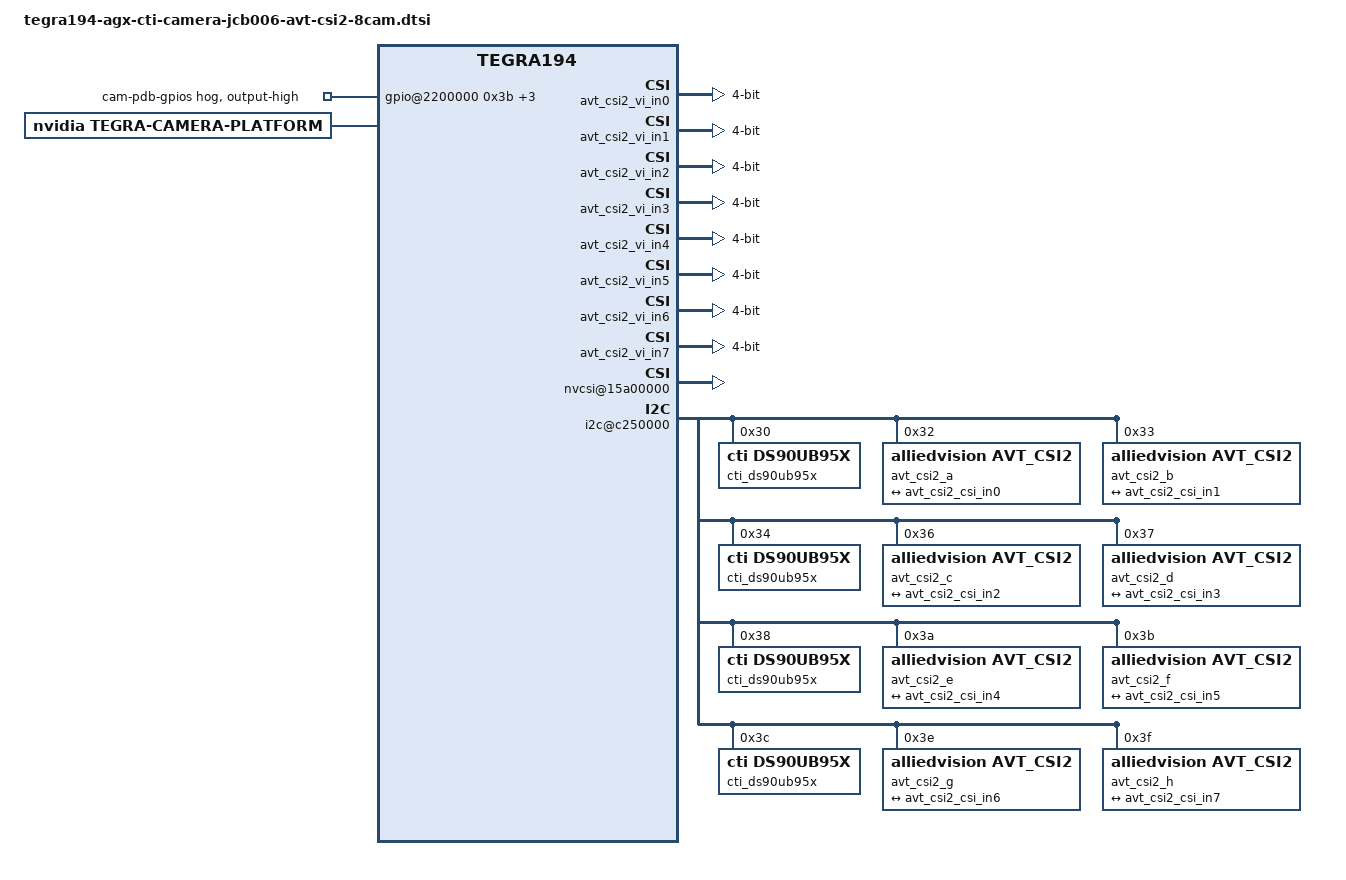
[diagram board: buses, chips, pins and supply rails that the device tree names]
/**
 * 8-cam device tree for AlliedVision sensors via FPDLink
 * Supports following series:
 *  - 1800C -507c
 *  - 1500C -500c
 */

/ {
    /**
	 * i2c-mux @72
	 * CAM A --> 2 lanes	(VI port-index = 0)
	 * CAM B --> 2 lanes	(VI port-index = 1)
	 * CAM C --> 2 lanes	(VI port-index = 2)
	 * CAM D --> 2 lanes	(VI port-index = 3)
	 *
	 * i2c-mux @75
	 * CAM E --> 4 lanes	(VI port-index = 4)
	 * CAM F --> 4 lanes	(VI port-index = 5)	 
	 */
	 
	 
	 
	tegra-capture-vi{
			num-channels = <8>;
            status="okay";
			ports {
				#address-cells = <1>;
				#size-cells = <0>;
				port@0 {
					reg = <0>;
                    status="okay";
				    avt_csi2_vi_in0: endpoint {
                        status="okay";
						port-index = <0>;
						bus-width = <4>;
						vc-id = <0>;
						remote-endpoint = <&avt_csi2_csi_out0>;
					};
				};
				
				port@1 {
					reg = <1>;
                    status="okay";
				    avt_csi2_vi_in1: endpoint {
                        status="okay";
						port-index = <0>;
						bus-width = <4>;
						vc-id = <1>;
						remote-endpoint = <&avt_csi2_csi_out1>;
					};
				};
				
				port@2 {
					reg = <2>;
                    status="okay";
				    avt_csi2_vi_in2: endpoint {
                        status="okay";
						port-index = <2>;
						bus-width = <4>;
						vc-id = <0>;
						remote-endpoint = <&avt_csi2_csi_out2>;
					};
				};
				
				port@3 {
					reg = <3>;
                    status="okay";
				    avt_csi2_vi_in3: endpoint {
                        status="okay";
						port-index = <2>;
						bus-width = <4>;
						vc-id = <1>;
						remote-endpoint = <&avt_csi2_csi_out3>;
					};
				};
				
				port@4 {
					reg = <4>;
                    status="okay";
				    avt_csi2_vi_in4: endpoint {
                        status="okay";
						port-index = <4>;
						bus-width = <4>;
						vc-id = <0>;
						remote-endpoint = <&avt_csi2_csi_out4>;
					};
				};
				
				port@5 {
					reg = <5>;
                    status="okay";
				    avt_csi2_vi_in5: endpoint {
                        status="okay";
						port-index = <4>;
						bus-width = <4>;
						vc-id = <1>;
						remote-endpoint = <&avt_csi2_csi_out5>;
					};
				};
				port@6 {
					reg = <6>;
					status = "okay";
					avt_csi2_vi_in6: endpoint {
						status = "okay";
						port-index = <5>;
						bus-width = <4>;
						vc-id = <0>;
						remote-endpoint = <&avt_csi2_csi_out6>;
					};
				};
				port@7 {
					reg = <7>;
					status = "okay";
					avt_csi2_vi_in7: endpoint {
						status = "okay";
						port-index = <5>;
						bus-width = <4>;
						vc-id = <1>;
						remote-endpoint = <&avt_csi2_csi_out7>;
					};
				};
			};
		};
		
	host1x@13e00000{
		nvcsi@15a00000 {
			num-channels = <8>;
			#address-cells = <1>;
			#size-cells = <0>;
            status="okay";
			
			channel@0 {
                status="okay";
				reg = <0>;
				ports {
                    status="okay";
				    #address-cells = <1>;
					#size-cells = <0>;
					port@0 {
						reg = <0>;
                        status="okay";
						avt_csi2_csi_in0: endpoint@0 {
                            status="okay";
							port-index = <0>;
							bus-width = <4>;
							remote-endpoint = <&avt_csi2_cam_out0>;
						};
					};
					port@1 {
                        status="okay";
						reg = <1>;
						avt_csi2_csi_out0: endpoint@1 {
                            status="okay";
							remote-endpoint = <&avt_csi2_vi_in0>;
						};
					};
				};
			};
			
			channel@1 {
                status="okay";
				reg = <1>;
				ports {
                    status="okay";
				    #address-cells = <1>;
					#size-cells = <0>;
					port@0 {
						reg = <0>;
                        status="okay";
						avt_csi2_csi_in1: endpoint@2 {
                            status="okay";
							port-index = <0>;
							bus-width = <4>;
							remote-endpoint = <&avt_csi2_cam_out1>;
						};
					};
					port@1 {
                        status="okay";
						reg = <1>;
						avt_csi2_csi_out1: endpoint@3 {
                            status="okay";
							remote-endpoint = <&avt_csi2_vi_in1>;
						};
					};
				};
			};
			
			channel@2 {
                status="okay";
				reg = <2>;
				ports {
                    status="okay";
				    #address-cells = <1>;
					#size-cells = <0>;
					port@0 {
						reg = <0>;
                        status="okay";
						avt_csi2_csi_in2: endpoint@4 {
                            status="okay";
							port-index = <2>;
							bus-width = <4>;
							remote-endpoint = <&avt_csi2_cam_out2>;
						};
					};
					port@1 {
                        status="okay";
						reg = <1>;
						avt_csi2_csi_out2: endpoint@5 {
                            status="okay";
							remote-endpoint = <&avt_csi2_vi_in2>;
						};
					};
				};
			};
			
			channel@3 {
                status="okay";
				reg = <3>;
				ports {
                    status="okay";
				    #address-cells = <1>;
					#size-cells = <0>;
					port@0 {
						reg = <0>;
                        status="okay";
						avt_csi2_csi_in3: endpoint@6 {
                            status="okay";
							port-index = <2>;
							bus-width = <4>;
							remote-endpoint = <&avt_csi2_cam_out3>;
						};
					};
					port@1 {
                        status="okay";
						reg = <1>;
						avt_csi2_csi_out3: endpoint@7 {
                            status="okay";
							remote-endpoint = <&avt_csi2_vi_in3>;
						};
					};
				};
			};
			
			channel@4 {
                status="okay";
				reg = <4>;
				ports {
                    status="okay";
				    #address-cells = <1>;
					#size-cells = <0>;
					port@0 {
						reg = <0>;
                        status="okay";
						avt_csi2_csi_in4: endpoint@8 {
                            status="okay";
							port-index = <4>;
							bus-width = <4>;
							remote-endpoint = <&avt_csi2_cam_out4>;
						};
					};
					port@1 {
                        status="okay";
						reg = <1>;
						avt_csi2_csi_out4: endpoint@9 {
                            status="okay";
							remote-endpoint = <&avt_csi2_vi_in4>;
						};
					};
				};
			};
			
			channel@5 {
                status="okay";
				reg = <5>;
				ports {
                    status="okay";
				    #address-cells = <1>;
					#size-cells = <0>;
					port@0 {
						reg = <0>;
                        status="okay";
						avt_csi2_csi_in5: endpoint@10 {
                            status="okay";
							port-index = <4>;
							bus-width = <4>;
							remote-endpoint = <&avt_csi2_cam_out5>;
						};
					};
					port@1 {
                        status="okay";
						reg = <1>;
						avt_csi2_csi_out5: endpoint@11 {
                            status="okay";
							remote-endpoint = <&avt_csi2_vi_in5>;
						};
					};
				};
			};
			channel@6 {
				status = "okay";
				reg = <6>;
				ports {
					status = "okay";
					#address-cells = <1>;
					#size-cells = <0>;
					port@0 {
						reg = <0>;
						status = "okay";
						avt_csi2_csi_in6: endpoint@12 {
							status = "okay";
							port-index = <6>;
							bus-width = <4>;
							remote-endpoint = <&avt_csi2_cam_out6>;
						};
					};
					port@1 {
						reg = <1>;
						status = "okay";
						avt_csi2_csi_out6: endpoint@13 {
							remote-endpoint = <&avt_csi2_vi_in6>;
						};
					};
				};
			};
			channel@7 {
				status = "okay";
				reg = <7>;
				ports {
					status = "okay";
					#address-cells = <1>;
					#size-cells = <0>;
					port@0 {
						reg = <0>;
						status = "okay";
						avt_csi2_csi_in7: endpoint@14 {
							status = "okay";
							port-index = <6>;
							bus-width = <4>;
							remote-endpoint = <&avt_csi2_cam_out7>;
						};
					};
					port@1 {
						reg = <1>;
						status = "okay";
						avt_csi2_csi_out7: endpoint@15 {
							remote-endpoint = <&avt_csi2_vi_in7>;
						};
					};
				};
			};
		};
	};

	/**I2C2*/
	i2c@c250000 {
		pinctrl-names = "default";
		pinctrl-0 = <&gen8_i2c_pinctrl>;	
		#address-cells = <1>;
		#size-cells = <0>;
		status = "okay";
		//======================================================================== DSER A ======================================	
		cti_ds90ub95x@30 {
			compatible = "cti,ds90ub95x";
			#address-cells = <1>;
			#size-cells = <0>;
			reg = <0x30>;
			port0-enabled;
			port1-enabled;
			lanes = <4>;
			
			port0-slaveIDs = /bits/ 8 <0x3c>;
			port1-slaveIDs = /bits/ 8 <0x3c>;
			port0-slaveAliases = /bits/ 8 <0x32>;
			port1-slaveAliases = /bits/ 8 <0x33>;
			continuous-clk;
			
			fs-ext-enable;
			fs-ext-gpio = <0>; //tell fpdlink which is the fs gpio

			port0-gpio-map = <0 2>;
			port1-gpio-map = <0 2>; //remap gpio0 dser to gpio2 ser for frame synch

			tx-freq-mhz = <1600>;
			status = "okay";

			cti_ds90ub953_0@18 {
				reg = <0x18>;
				status = "okay";
				reg,gpio-local-data = <0xf0>;
				reg,gpio-input-ctrl = <0xf0>;
				lanes = <4>;
				vc-id = <0>;
			};
			cti_ds90ub953_1@19 {
				reg = <0x19>;
				status = "okay";
				reg,gpio-local-data = <0xf0>;
				reg,gpio-input-ctrl = <0xf0>;
				lanes = <4>;
				vc-id = <1>;
			};

		};

					
		avt_csi2_a@32 {
			status = "okay";

			clocks = <&bpmp_clks TEGRA194_CLK_EXTPERIPH1>,
					 <&bpmp_clks TEGRA194_CLK_PLLP_OUT0>;
			clock-names = "extperiph1", "pllp_grtba";
			mclk = "extperiph1";
			
			devnode = "video0";
			compatible = "alliedvision,avt_csi2";
			reg = <0x32>;

			mode0 {
				num_lanes = "4";
				vc_id = "0";
				tegra_sinterface = "serial_a";
				discontinuous_clk = "no";
				cil_settletime = "0";
				embedded_metadata_height = "0";

				/* not verified: */
				mclk_khz = "24000";
				phy_mode = "DPHY";
				dpcm_enable = "false";

				csi_pixel_bit_depth = "4";

				active_w = "5488";
				active_h = "4112";

				pixel_t = "bayer_bggr";
				readout_orientation = "0";
				line_length = "5488";
				
				inherent_gain = "1";
				mclk_multiplier = "31.25";
				pix_clk_hz = "750000000";

				gain_factor = "16";
				framerate_factor = "1000000";
				exposure_factor = "1000000";
				min_gain_val = "16"; /* 1.0 */
				max_gain_val = "256"; /* 16.0 */
				step_gain_val = "1"; /* 0.125 */
				min_hdr_ratio = "1";
				max_hdr_ratio = "64";
				min_framerate = "1500000"; /* 1.5 */
				max_framerate = "30000000"; /* 30 */
				step_framerate = "1";
				min_exp_time = "34"; /* us */
				max_exp_time = "550385"; /* us */
				step_exp_time = "1";
			};
			
			ports {
				#address-cells = <1>;
				#size-cells = <0>;

				port@0 {
					reg = <0>;
					avt_csi2_cam_out0: endpoint {
						port-index = <0>;
						bus-width = <4>;
						vc-id = <0>;
						remote-endpoint = <&avt_csi2_csi_in0>;
					};
				};
			};
		};
		avt_csi2_b@33 {
			status = "okay";

			clocks = <&bpmp_clks TEGRA194_CLK_EXTPERIPH1>,
					 <&bpmp_clks TEGRA194_CLK_PLLP_OUT0>;
			clock-names = "extperiph1", "pllp_grtba";
			mclk = "extperiph1";
			
			devnode = "video1";
			compatible = "alliedvision,avt_csi2";
			reg = <0x33>;

			mode0 {
				num_lanes = "4";
				vc_id = "1";
				tegra_sinterface = "serial_a";
				discontinuous_clk = "no";
				cil_settletime = "0";
				embedded_metadata_height = "0";

				/* not verified: */
				mclk_khz = "24000";
				phy_mode = "DPHY";
				dpcm_enable = "false";

				csi_pixel_bit_depth = "4";

				active_w = "5488";
				active_h = "4112";

				pixel_t = "bayer_bggr";
				readout_orientation = "0";
				line_length = "5488";
				
				inherent_gain = "1";
				mclk_multiplier = "31.25";
				pix_clk_hz = "750000000";

				gain_factor = "16";
				framerate_factor = "1000000";
				exposure_factor = "1000000";
				min_gain_val = "16"; /* 1.0 */
				max_gain_val = "256"; /* 16.0 */
				step_gain_val = "1"; /* 0.125 */
				min_hdr_ratio = "1";
				max_hdr_ratio = "64";
				min_framerate = "1500000"; /* 1.5 */
				max_framerate = "30000000"; /* 30 */
				step_framerate = "1";
				min_exp_time = "34"; /* us */
				max_exp_time = "550385"; /* us */
				step_exp_time = "1";
			};
			
			ports {
				#address-cells = <1>;
				#size-cells = <0>;

				port@0 {
					reg = <0>;
					avt_csi2_cam_out1: endpoint {
						port-index = <0>;
						bus-width = <4>;
						vc-id = <1>;
						remote-endpoint = <&avt_csi2_csi_in1>;
					};
				};
			};
		};
	
		//======================================================================== DSER B ======================================
		cti_ds90ub95x@34 {
			compatible = "cti,ds90ub95x";
			#address-cells = <1>;
			#size-cells = <0>;
			reg = <0x34>;
			port0-enabled;
			port1-enabled;
			lanes = <4>;
			
			port0-slaveIDs = /bits/ 8 <0x3c>;
			port1-slaveIDs = /bits/ 8 <0x3c>;
			port0-slaveAliases = /bits/ 8 <0x36>;
			port1-slaveAliases = /bits/ 8 <0x37>;
			continuous-clk;
			
			fs-ext-enable;
			fs-ext-gpio = <0>; //tell fpdlink which is the fs gpio

			port0-gpio-map = <0 2>;
			port1-gpio-map = <0 2>; //remap gpio0 dser to gpio2 ser for frame synch

			tx-freq-mhz = <1600>;
			status = "okay";

			cti_ds90ub953_0@1a {
				reg = <0x1a>;
				status = "okay";
				reg,gpio-local-data = <0xf0>;
				reg,gpio-input-ctrl = <0xf0>;
				lanes = <4>;
				vc-id = <0>;
			};
			cti_ds90ub953_1@1b {
				reg = <0x1b>;
				status = "okay";
				reg,gpio-local-data = <0xf0>;
				reg,gpio-input-ctrl = <0xf0>;
				lanes = <4>;
				vc-id = <1>;
			};

		};

					
		avt_csi2_c@36 {
			status = "okay";

			clocks = <&bpmp_clks TEGRA194_CLK_EXTPERIPH1>,
					 <&bpmp_clks TEGRA194_CLK_PLLP_OUT0>;
			clock-names = "extperiph1", "pllp_grtba";
			mclk = "extperiph1";
			
			devnode = "video2";
			compatible = "alliedvision,avt_csi2";
			reg = <0x36>;

			mode0 {
				num_lanes = "4";
				vc_id = "0";
				tegra_sinterface = "serial_c";
				discontinuous_clk = "no";
				cil_settletime = "0";
				embedded_metadata_height = "0";

				/* not verified: */
				mclk_khz = "24000";
				phy_mode = "DPHY";
				dpcm_enable = "false";

				csi_pixel_bit_depth = "4";

				active_w = "5488";
				active_h = "4112";

				pixel_t = "bayer_bggr";
				readout_orientation = "0";
				line_length = "5488";
				
				inherent_gain = "1";
				mclk_multiplier = "31.25";
				pix_clk_hz = "750000000";

				gain_factor = "16";
				framerate_factor = "1000000";
				exposure_factor = "1000000";
				min_gain_val = "16"; /* 1.0 */
				max_gain_val = "256"; /* 16.0 */
				step_gain_val = "1"; /* 0.125 */
				min_hdr_ratio = "1";
				max_hdr_ratio = "64";
				min_framerate = "1500000"; /* 1.5 */
				max_framerate = "30000000"; /* 30 */
				step_framerate = "1";
				min_exp_time = "34"; /* us */
				max_exp_time = "550385"; /* us */
				step_exp_time = "1";
			};
			
			ports {
				#address-cells = <1>;
				#size-cells = <0>;

				port@0 {
					reg = <0>;
					avt_csi2_cam_out2: endpoint {
						port-index = <2>;
						bus-width = <4>;
						vc-id = <0>;
						remote-endpoint = <&avt_csi2_csi_in2>;
					};
				};
			};
		};
		avt_csi2_d@37 {
			status = "okay";

			clocks = <&bpmp_clks TEGRA194_CLK_EXTPERIPH1>,
					 <&bpmp_clks TEGRA194_CLK_PLLP_OUT0>;
			clock-names = "extperiph1", "pllp_grtba";
			mclk = "extperiph1";
			
			devnode = "video3";
			compatible = "alliedvision,avt_csi2";
			reg = <0x37>;

			mode0 {
				num_lanes = "4";
				vc_id = "1";
				tegra_sinterface = "serial_c";
				discontinuous_clk = "no";
				cil_settletime = "0";
				embedded_metadata_height = "0";

				/* not verified: */
				mclk_khz = "24000";
				phy_mode = "DPHY";
				dpcm_enable = "false";

				csi_pixel_bit_depth = "4";

				active_w = "5488";
				active_h = "4112";

				pixel_t = "bayer_bggr";
				readout_orientation = "0";
				line_length = "5488";
				
				inherent_gain = "1";
				mclk_multiplier = "31.25";
				pix_clk_hz = "750000000";

				gain_factor = "16";
				framerate_factor = "1000000";
				exposure_factor = "1000000";
				min_gain_val = "16"; /* 1.0 */
				max_gain_val = "256"; /* 16.0 */
				step_gain_val = "1"; /* 0.125 */
				min_hdr_ratio = "1";
				max_hdr_ratio = "64";
				min_framerate = "1500000"; /* 1.5 */
				max_framerate = "30000000"; /* 30 */
				step_framerate = "1";
				min_exp_time = "34"; /* us */
				max_exp_time = "550385"; /* us */
				step_exp_time = "1";
			};
			
			ports {
				#address-cells = <1>;
				#size-cells = <0>;

				port@0 {
					reg = <0>;
					avt_csi2_cam_out3: endpoint {
						port-index = <2>;
						bus-width = <4>;
						vc-id = <1>;
						remote-endpoint = <&avt_csi2_csi_in3>;
					};
				};
			};
		};

		//======================================================================== DSER C ======================================
		cti_ds90ub95x@38 {
			compatible = "cti,ds90ub95x";
			#address-cells = <1>;
			#size-cells = <0>;
			reg = <0x38>;
			port0-enabled;
			port1-enabled;
			lanes = <4>;
			
			port0-slaveIDs = /bits/ 8 <0x3c>;
			port1-slaveIDs = /bits/ 8 <0x3c>;
			port0-slaveAliases = /bits/ 8 <0x3a>;
			port1-slaveAliases = /bits/ 8 <0x3b>;
			continuous-clk;
			
			fs-ext-enable;
			fs-ext-gpio = <0>; //tell fpdlink which is the fs gpio

			port0-gpio-map = <0 2>;
			port1-gpio-map = <0 2>; //remap gpio0 dser to gpio2 ser for frame synch

			tx-freq-mhz = <1600>;
			status = "okay";

			cti_ds90ub953_0@1c {
				reg = <0x1c>;
				status = "okay";
				reg,gpio-local-data = <0xf0>;
				reg,gpio-input-ctrl = <0xf0>;
				lanes = <4>;
				vc-id = <0>;
			};
			cti_ds90ub953_1@1d {
				reg = <0x1d>;
				status = "okay";
				reg,gpio-local-data = <0xf0>;
				reg,gpio-input-ctrl = <0xf0>;
				lanes = <4>;
				vc-id = <1>;
			};

		};

					
		avt_csi2_e@3a {
			status = "okay";

			clocks = <&bpmp_clks TEGRA194_CLK_EXTPERIPH1>,
					 <&bpmp_clks TEGRA194_CLK_PLLP_OUT0>;
			clock-names = "extperiph1", "pllp_grtba";
			mclk = "extperiph1";
			
			devnode = "video4";
			compatible = "alliedvision,avt_csi2";
			reg = <0x3a>;

			mode0 {
				num_lanes = "4";
				vc_id = "0";
				tegra_sinterface = "serial_e";
				discontinuous_clk = "no";
				cil_settletime = "0";
				embedded_metadata_height = "0";

				/* not verified: */
				mclk_khz = "24000";
				phy_mode = "DPHY";
				dpcm_enable = "false";

				csi_pixel_bit_depth = "4";

				active_w = "5488";
				active_h = "4112";

				pixel_t = "bayer_bggr";
				readout_orientation = "0";
				line_length = "5488";
				
				inherent_gain = "1";
				mclk_multiplier = "31.25";
				pix_clk_hz = "750000000";

				gain_factor = "16";
				framerate_factor = "1000000";
				exposure_factor = "1000000";
				min_gain_val = "16"; /* 1.0 */
				max_gain_val = "256"; /* 16.0 */
				step_gain_val = "1"; /* 0.125 */
				min_hdr_ratio = "1";
				max_hdr_ratio = "64";
				min_framerate = "1500000"; /* 1.5 */
				max_framerate = "30000000"; /* 30 */
				step_framerate = "1";
				min_exp_time = "34"; /* us */
				max_exp_time = "550385"; /* us */
				step_exp_time = "1";
			};
			
			ports {
				#address-cells = <1>;
				#size-cells = <0>;

				port@0 {
					reg = <0>;
					avt_csi2_cam_out4: endpoint {
						port-index = <4>;
						bus-width = <4>;
						vc-id = <0>;
						remote-endpoint = <&avt_csi2_csi_in4>;
					};
				};
			};
		};
		avt_csi2_f@3b {
			status = "okay";

			clocks = <&bpmp_clks TEGRA194_CLK_EXTPERIPH1>,
					 <&bpmp_clks TEGRA194_CLK_PLLP_OUT0>;
			clock-names = "extperiph1", "pllp_grtba";
			mclk = "extperiph1";
			
			devnode = "video5";
			compatible = "alliedvision,avt_csi2";
			reg = <0x3b>;

			mode0 {
				num_lanes = "4";
				vc_id = "1";
				tegra_sinterface = "serial_e";
				discontinuous_clk = "no";
				cil_settletime = "0";
				embedded_metadata_height = "0";

				/* not verified: */
				mclk_khz = "24000";
				phy_mode = "DPHY";
				dpcm_enable = "false";

				csi_pixel_bit_depth = "4";

				active_w = "5488";
				active_h = "4112";

				pixel_t = "bayer_bggr";
				readout_orientation = "0";
				line_length = "5488";
				
				inherent_gain = "1";
				mclk_multiplier = "31.25";
				pix_clk_hz = "750000000";

				gain_factor = "16";
				framerate_factor = "1000000";
				exposure_factor = "1000000";
				min_gain_val = "16"; /* 1.0 */
				max_gain_val = "256"; /* 16.0 */
				step_gain_val = "1"; /* 0.125 */
				min_hdr_ratio = "1";
				max_hdr_ratio = "64";
				min_framerate = "1500000"; /* 1.5 */
				max_framerate = "30000000"; /* 30 */
				step_framerate = "1";
				min_exp_time = "34"; /* us */
				max_exp_time = "550385"; /* us */
				step_exp_time = "1";
			};
			
			ports {
				#address-cells = <1>;
				#size-cells = <0>;

				port@0 {
					reg = <0>;
					avt_csi2_cam_out5: endpoint {
						port-index = <4>;
						bus-width = <4>;
						vc-id = <1>;
						remote-endpoint = <&avt_csi2_csi_in5>;
					};
				};
			};
		};
		//======================================================================== DSER D ======================================
		cti_ds90ub95x@3c {
			compatible = "cti,ds90ub95x";
			#address-cells = <1>;
			#size-cells = <0>;
			reg = <0x3c>;
			port0-enabled;
			port1-enabled;
			lanes = <4>;
			
			port0-slaveIDs = /bits/ 8 <0x3c>;
			port1-slaveIDs = /bits/ 8 <0x3c>;
			port0-slaveAliases = /bits/ 8 <0x3e>;
			port1-slaveAliases = /bits/ 8 <0x3f>;
			continuous-clk;
			
			fs-ext-enable;
			fs-ext-gpio = <0>; //tell fpdlink which is the fs gpio

			port0-gpio-map = <0 2>;
			port1-gpio-map = <0 2>; //remap gpio0 dser to gpio2 ser for frame synch

			tx-freq-mhz = <1600>;
			status = "okay";

			cti_ds90ub953_0@1e {
				reg = <0x1e>;
				status = "okay";
				reg,gpio-local-data = <0xf0>;
				reg,gpio-input-ctrl = <0xf0>;
				lanes = <4>;
				vc-id = <0>;
			};
			cti_ds90ub953_1@1f {
				reg = <0x1f>;
				status = "okay";
				reg,gpio-local-data = <0xf0>;
				reg,gpio-input-ctrl = <0xf0>;
				lanes = <4>;
				vc-id = <1>;
			};

		};

					
		avt_csi2_g@3e {
			status = "okay";

			clocks = <&bpmp_clks TEGRA194_CLK_EXTPERIPH1>,
					 <&bpmp_clks TEGRA194_CLK_PLLP_OUT0>;
			clock-names = "extperiph1", "pllp_grtba";
			mclk = "extperiph1";
			
			devnode = "video6";
			compatible = "alliedvision,avt_csi2";
			reg = <0x3e>;

			mode0 {
				num_lanes = "4";
				vc_id = "0";
				tegra_sinterface = "serial_g";
				discontinuous_clk = "no";
				cil_settletime = "0";
				embedded_metadata_height = "0";

				/* not verified: */
				mclk_khz = "24000";
				phy_mode = "DPHY";
				dpcm_enable = "false";

				csi_pixel_bit_depth = "4";

				active_w = "5488";
				active_h = "4112";

				pixel_t = "bayer_bggr";
				readout_orientation = "0";
				line_length = "5488";
				
				inherent_gain = "1";
				mclk_multiplier = "31.25";
				pix_clk_hz = "750000000";

				gain_factor = "16";
				framerate_factor = "1000000";
				exposure_factor = "1000000";
				min_gain_val = "16"; /* 1.0 */
				max_gain_val = "256"; /* 16.0 */
				step_gain_val = "1"; /* 0.125 */
				min_hdr_ratio = "1";
				max_hdr_ratio = "64";
				min_framerate = "1500000"; /* 1.5 */
				max_framerate = "30000000"; /* 30 */
				step_framerate = "1";
				min_exp_time = "34"; /* us */
				max_exp_time = "550385"; /* us */
				step_exp_time = "1";
			};
			
			ports {
				#address-cells = <1>;
				#size-cells = <0>;

				port@0 {
					reg = <0>;
					avt_csi2_cam_out6: endpoint {
						port-index = <6>;
						bus-width = <4>;
						vc-id = <0>;
						remote-endpoint = <&avt_csi2_csi_in6>;
					};
				};
			};
		};
		avt_csi2_h@3f {
			status = "okay";

			clocks = <&bpmp_clks TEGRA194_CLK_EXTPERIPH1>,
					 <&bpmp_clks TEGRA194_CLK_PLLP_OUT0>;
			clock-names = "extperiph1", "pllp_grtba";
			mclk = "extperiph1";
			
			devnode = "video7";
			compatible = "alliedvision,avt_csi2";
			reg = <0x3f>;

			mode0 {
				num_lanes = "4";
				vc_id = "1";
				tegra_sinterface = "serial_g";
				discontinuous_clk = "no";
				cil_settletime = "0";
				embedded_metadata_height = "0";

				/* not verified: */
				mclk_khz = "24000";
				phy_mode = "DPHY";
				dpcm_enable = "false";

				csi_pixel_bit_depth = "4";

				active_w = "5488";
				active_h = "4112";

				pixel_t = "bayer_bggr";
				readout_orientation = "0";
				line_length = "5488";
				
				inherent_gain = "1";
				mclk_multiplier = "31.25";
				pix_clk_hz = "750000000";

				gain_factor = "16";
				framerate_factor = "1000000";
				exposure_factor = "1000000";
				min_gain_val = "16"; /* 1.0 */
				max_gain_val = "256"; /* 16.0 */
				step_gain_val = "1"; /* 0.125 */
				min_hdr_ratio = "1";
				max_hdr_ratio = "64";
				min_framerate = "1500000"; /* 1.5 */
				max_framerate = "30000000"; /* 30 */
				step_framerate = "1";
				min_exp_time = "34"; /* us */
				max_exp_time = "550385"; /* us */
				step_exp_time = "1";
			};
			
			ports {
				#address-cells = <1>;
				#size-cells = <0>;

				port@0 {
					reg = <0>;
					avt_csi2_cam_out7: endpoint {
						port-index = <6>;
						bus-width = <4>;
						vc-id = <1>;
						remote-endpoint = <&avt_csi2_csi_in7>;
					};
				};
			};
		};
	};

	gpio@2200000{
		cam-pdb-gpios{
			gpio-hog;
			output-high;
			gpios = <0x3b 0x00 0x3e 0x00 0x9d 0x00 0x9e 0x00>;	
		};
	};	
	
	/**I2C3*/	
    i2c@3180000 {
        clock-frequency = <100000>;
        /*tca9539_74: tca9539@74 {
            compatible = "ti,tca9539";
            gpio-controller;
            #gpio-cells = <2>;
            reg = <0x74>;
            vcc-supply = <&vdd_1v8_cvb>;
            status = "okay";
            tca9539_74_outlow {
                
                gpio-hog;
                gpios = <0 0 1 0 2 0 3 0 4 0 5 0 6 0 7 0 8 0 9 0 10 0 11 0 12 0 13 0 14 0 15 0>;
                output-high;
                label = "tca9539_74_outlow_0",
                    "tca9539_74_outlow_1",
                    "tca9539_74_outlow_2",
                    "tca9539_74_outlow_3",
                    "tca9539_74_outlow_4",
                    "tca9539_74_outlow_5",
                    "tca9539_74_outlow_6",
                    "tca9539_74_outlow_7",
                    "tca9539_74_outlow_8",
                    "tca9539_74_outlow_9",
                    "tca9539_74_outlow_10",
                    "tca9539_74_outlow_11",
                    "tca9539_74_outlow_12",
                    "tca9539_74_outlow_13";
            };
            tca9539_74_outhigh {
                status= "disabled";
            };
            tca9539_74_input {
                status = "disabled";
            };
        };*/
    };

	pinmux@2430000 {
		gen8_i2c_pinctrl: gen8_i2c_pinctrl {
			gen8_i2c_scl {
				nvidia,pins = "gen8_i2c_scl_pdd1";
				nvidia,schmitt = <TEGRA_PIN_DISABLE>;
				nvidia,lpdr = <TEGRA_PIN_DISABLE>;
				nvidia,enable-input = <TEGRA_PIN_ENABLE>;
				nvidia,io-high-voltage = <TEGRA_PIN_DISABLE>;
				nvidia,tristate = <TEGRA_PIN_DISABLE>;
				nvidia,pull = <TEGRA_PIN_PULL_NONE>;
			};
			gen8_i2c_sda {
				nvidia,pins = "gen8_i2c_sda_pdd2";
				nvidia,schmitt = <TEGRA_PIN_DISABLE>;
				nvidia,lpdr = <TEGRA_PIN_DISABLE>;
				nvidia,enable-input = <TEGRA_PIN_ENABLE>;
				nvidia,io-high-voltage = <TEGRA_PIN_DISABLE>;
				nvidia,tristate = <TEGRA_PIN_DISABLE>;
				nvidia,pull = <TEGRA_PIN_PULL_NONE>;
			};
		};
	};
};



/ {
	tegra-camera-platform {
		compatible = "nvidia, tegra-camera-platform";
		num_csi_lanes = <12>;
		max_lane_speed = <1500000>;
		min_bits_per_pixel = <8>;
		vi_peak_byte_per_pixel = <2>;
		vi_bw_margin_pct = <25>;
		max_pixel_rate = <160000>;
		isp_peak_byte_per_pixel = <5>;
		isp_bw_margin_pct = <25>;

		/**
		 * The general guideline for naming badge_info contains 3 parts, and is as follows,
		 * The first part is the camera_board_id for the module; if the module is in a FFD
		 * platform, then use the platform name for this part.
		 * The second part contains the position of the module, ex. "rear" or "front".
		 * The third part contains the last 6 characters of a part number which is found
		 * in the module's specsheet from the vender.
		 */
		modules {
			module0 {
				status = "okay";
				badge = "avt_csi2_0";
				position = "top";
				orientation = "1";
				drivernode0 {
					pcl_id = "v4l2_sensor";
					devname = "avt_csi2 0 7-0032";
					proc-device-tree = "/proc/device-tree/i2c@c250000/avt_csi2_a@32";					
				};
				drivernode1 {
					pcl_id = "v4l2_lens";
				};
			};
			
			module1 {
				status = "okay";
				badge = "avt_csi2_1";
				position = "center";
				orientation = "1";
				drivernode0 {
					pcl_id = "v4l2_sensor";
					devname = "avt_csi2 1 7-0033";
					proc-device-tree = "/proc/device-tree/i2c@c250000/avt_csi2_b@33";					
				};
				drivernode1 {
					pcl_id = "v4l2_lens";
				};
			};
			
			module2 {
				status = "okay";
				badge = "avt_csi2_2";
				position = "bottom";
				orientation = "1";
				drivernode0 {
					pcl_id = "v4l2_sensor";
					devname = "avt_csi2 2 7-0036";
					proc-device-tree = "/proc/device-tree/i2c@c250000/avt_csi2_c@36";					
				};
				drivernode1 {
					pcl_id = "v4l2_lens";
				};
			};
			
			module3 {
				status = "okay";
				badge = "avt_csi2_3";
				position = "center-left";
				orientation = "1";
				drivernode0 {
					pcl_id = "v4l2_sensor";
					devname = "avt_csi2 3 7-0037";
					proc-device-tree = "/proc/device-tree/i2c@c250000/avt_csi2_d@37";					
				};
				drivernode1 {
					pcl_id = "v4l2_lens";
				};
			};
			
			module4 {
				status = "okay";
				badge = "avt_csi2_4";
				position = "center-right";
				orientation = "1";
				drivernode0 {
					pcl_id = "v4l2_sensor";
					devname = "avt_csi2 4 7-003a";
					proc-device-tree = "/proc/device-tree/i2c@c250000/avt_csi2_e@3a";
				};
				drivernode1 {
					pcl_id = "v4l2_lens";
				};
			};
			
			module5 {
				status = "okay";
				badge = "avt_csi2_5";
				position = "topright";
				orientation = "1";
				drivernode0 {
					pcl_id = "v4l2_sensor";
					devname = "avt_csi2 5 7-003b";
					proc-device-tree = "/proc/device-tree/i2c@c250000/avt_csi2_f@3b";					
				};
				drivernode1 {
					pcl_id = "v4l2_lens";
				};
			};

			module6 {
				status = "okay";
				badge = "avt_csi2_6";
				position = "topleft";
				orientation = "1";
				drivenode0 {
					pcl_id = "v4l2_sensor";
					devname = "avt_csi2 6 7-003e";
					proc-device-tree = "/proc/device-tree/i2c@c250000/avt_csi2_g@3e";
				};
				drivenode1 {
					pcl_id = "v4l2_lens";
				};
			};
			module7 {
				status = "okay";
				badge = "avt_csi2_7";
				position = "top-center";
				orientation = "1";
				drivenode0 {
					pcl_id = "v4l2_sensor";
					devname = "avt_csi2 7 7-003f";
					proc-device-tree = "/proc/device-tree/i2c@c250000/avt_csi2_h@3f";
				};
				drivenode1 {
					pcl_id = "v4l2_lens";
				};
			};
		};
	};
};
